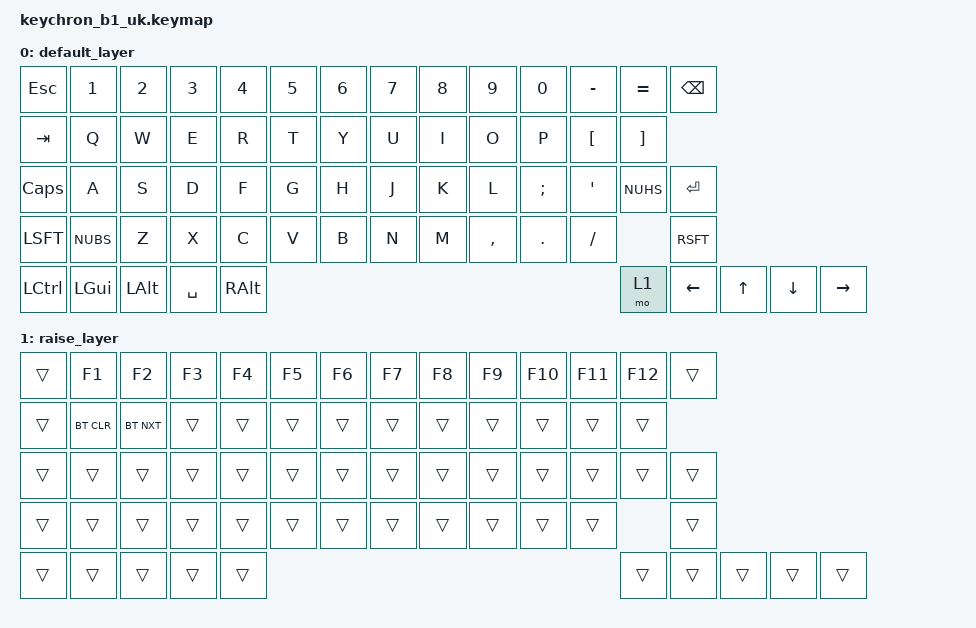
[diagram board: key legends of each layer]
#include <behaviors.dtsi>
#include <dt-bindings/zmk/keys.h>
#include <dt-bindings/zmk/bt.h>

/ {
    keymap {
        compatible = "zmk,keymap";

        default_layer {
            bindings = <
                &kp ESC  &kp N1   &kp N2   &kp N3   &kp N4   &kp N5   &kp N6   &kp N7   &kp N8   &kp N9   &kp N0   &kp MINUS  &kp EQUAL  &kp BSPC
                &kp TAB  &kp Q    &kp W    &kp E    &kp R    &kp T    &kp Y    &kp U    &kp I    &kp O    &kp P    &kp LBKT   &kp RBKT
                &kp CAPS &kp A    &kp S    &kp D    &kp F    &kp G    &kp H    &kp J    &kp K    &kp L    &kp SEMI   &kp APOS   &kp NUHS   &kp RET
                &kp LSFT &kp NUBS &kp Z    &kp X    &kp C    &kp V    &kp B    &kp N    &kp M    &kp COMMA  &kp DOT    &kp FSLH              &kp RSFT
                &kp LCTRL &kp LGUI &kp LALT                           &kp SPACE                             &kp RALT  &mo 1      &kp LEFT   &kp UP     &kp DOWN   &kp RIGHT
            >;
        };

        raise_layer {
            bindings = <
                &trans   &kp F1   &kp F2   &kp F3   &kp F4   &kp F5   &kp F6   &kp F7   &kp F8   &kp F9   &kp F10  &kp F11    &kp F12    &trans
                &trans   &bt BT_CLR  &bt BT_NXT  &trans   &trans   &trans   &trans   &trans   &trans   &trans   &trans   &trans   &trans
                &trans   &trans   &trans   &trans   &trans   &trans   &trans   &trans   &trans   &trans   &trans   &trans   &trans   &trans
                &trans   &trans   &trans   &trans   &trans   &trans   &trans   &trans   &trans   &trans   &trans   &trans              &trans
                &trans   &trans   &trans                           &trans                             &trans   &trans   &trans   &trans   &trans   &trans
            >;
        };
    };
};
